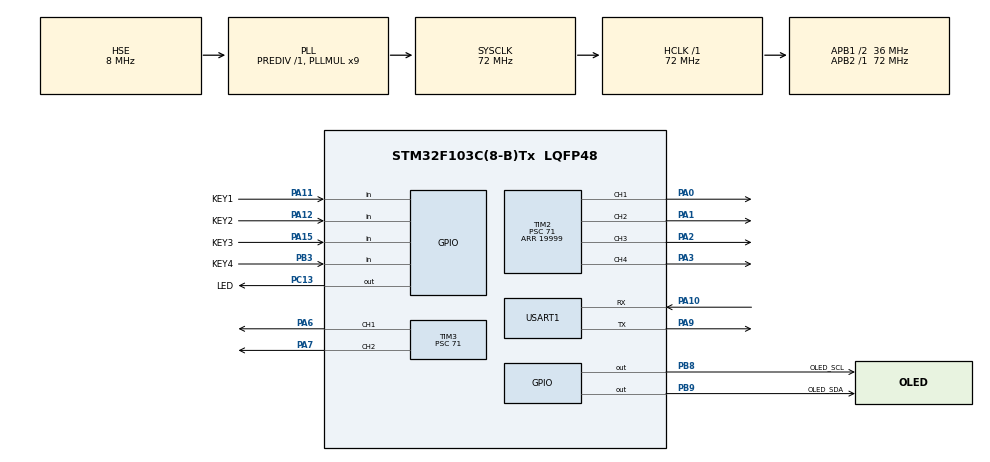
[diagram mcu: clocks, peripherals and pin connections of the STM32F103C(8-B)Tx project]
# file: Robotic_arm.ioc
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Dma.Request0=USART1_RX
Dma.USART1_RX.0.Direction=DMA_PERIPH_TO_MEMORY
Dma.USART1_RX.0.Instance=DMA1_Channel5
Dma.USART1_RX.0.MemDataAlignment=DMA_MDATAALIGN_BYTE
Dma.USART1_RX.0.MemInc=DMA_MINC_ENABLE
Dma.USART1_RX.0.Mode=DMA_CIRCULAR
Dma.USART1_RX.0.PeriphDataAlignment=DMA_PDATAALIGN_BYTE
Dma.USART1_RX.0.PeriphInc=DMA_PINC_DISABLE
Dma.USART1_RX.0.Priority=DMA_PRIORITY_VERY_HIGH
Mcu.Family=STM32F1
Mcu.Name=STM32F103C(8-B)Tx
Mcu.Package=LQFP48
NVIC.DMA1_Channel5_IRQn=true\:0\:0\:false\:false\:true\:false\:true\:true
NVIC.PriorityGroup=NVIC_PRIORITYGROUP_4
NVIC.TIM4_IRQn=true\:0\:0\:false\:false\:true\:true\:true\:true
NVIC.USART1_IRQn=true\:0\:0\:false\:false\:true\:true\:true\:true
PA0-WKUP.Signal=S_TIM2_CH1_ETR
PA1.Signal=S_TIM2_CH2
PA10.Mode=Asynchronous
PA10.Signal=USART1_RX
PA11.GPIO_Label=KEY1
PA11.GPIO_Mode=GPIO_MODE_INPUT
PA11.GPIO_PuPd=GPIO_PULLUP
PA11.Signal=GPIO_Input
PA12.GPIO_Label=KEY2
PA12.GPIO_PuPd=GPIO_PULLUP
PA12.Signal=GPIO_Input
PA13.Mode=Serial_Wire
PA13.Signal=SYS_JTMS-SWDIO
PA14.Mode=Serial_Wire
PA14.Signal=SYS_JTCK-SWCLK
PA15.GPIO_Label=KEY3
PA15.GPIO_PuPd=GPIO_PULLUP
PA15.Signal=GPIO_Input
PA2.Signal=S_TIM2_CH3
PA3.Signal=S_TIM2_CH4
PA6.Signal=S_TIM3_CH1
PA7.Signal=S_TIM3_CH2
PA9.Mode=Asynchronous
PA9.Signal=USART1_TX
PB3.GPIO_Label=KEY4
PB3.GPIO_PuPd=GPIO_PULLUP
PB3.Signal=GPIO_Input
PB8.GPIO_Label=OLED_SCL
PB8.GPIO_ModeDefaultOutputPP=GPIO_MODE_OUTPUT_OD
PB8.GPIO_PuPd=GPIO_PULLUP
PB8.GPIO_Speed=GPIO_SPEED_FREQ_LOW
PB8.PinState=GPIO_PIN_SET
PB8.Signal=GPIO_Output
PB9.GPIO_Label=OLED_SDA
PB9.GPIO_ModeDefaultOutputPP=GPIO_MODE_OUTPUT_OD
PB9.GPIO_PuPd=GPIO_PULLUP
PB9.GPIO_Speed=GPIO_SPEED_FREQ_LOW
PB9.PinState=GPIO_PIN_SET
PB9.Signal=GPIO_Output
PC13-TAMPER-RTC.GPIO_Label=LED
PC13-TAMPER-RTC.PinState=GPIO_PIN_SET
PC13-TAMPER-RTC.Signal=GPIO_Output
PD0-OSC_IN.Mode=HSE-External-Oscillator
PD0-OSC_IN.Signal=RCC_OSC_IN
PD1-OSC_OUT.Mode=HSE-External-Oscillator
PD1-OSC_OUT.Signal=RCC_OSC_OUT
ProjectManager.HeapSize=0x200
ProjectManager.StackSize=0x400
ProjectManager.TargetToolchain=CMake
RCC.AHBFreq_Value=72000000
RCC.APB1CLKDivider=RCC_HCLK_DIV2
RCC.APB1Freq_Value=36000000
RCC.APB1TimFreq_Value=72000000
RCC.APB2Freq_Value=72000000
RCC.APB2TimFreq_Value=72000000
RCC.HCLKFreq_Value=72000000
RCC.PLLMUL=RCC_PLL_MUL9
RCC.PLLSourceVirtual=RCC_PLLSOURCE_HSE
RCC.SYSCLKFreq_VALUE=72000000
RCC.SYSCLKSource=RCC_SYSCLKSOURCE_PLLCLK
RCC.USBFreq_Value=72000000
SH.S_TIM2_CH1_ETR.0=TIM2_CH1,PWM Generation1 CH1
SH.S_TIM2_CH2.0=TIM2_CH2,PWM Generation2 CH2
SH.S_TIM2_CH3.0=TIM2_CH3,PWM Generation3 CH3
SH.S_TIM2_CH4.0=TIM2_CH4,PWM Generation4 CH4
SH.S_TIM3_CH1.0=TIM3_CH1,PWM Generation1 CH1
SH.S_TIM3_CH2.0=TIM3_CH2,PWM Generation2 CH2
TIM2.Channel-PWM\ Generation1\ CH1=TIM_CHANNEL_1
TIM2.Channel-PWM\ Generation2\ CH2=TIM_CHANNEL_2
TIM2.Channel-PWM\ Generation3\ CH3=TIM_CHANNEL_3
TIM2.Channel-PWM\ Generation4\ CH4=TIM_CHANNEL_4
TIM2.OC1Preload_PWM=DISABLE
TIM2.OC2Preload_PWM=DISABLE
TIM2.OC3Preload_PWM=DISABLE
TIM2.OC4Preload_PWM=DISABLE
TIM2.Period=19999
TIM2.Prescaler=71
TIM2.Pulse-PWM\ Generation1\ CH1=0
TIM2.Pulse-PWM\ Generation2\ CH2=0
TIM2.Pulse-PWM\ Generation3\ CH3=0
TIM2.Pulse-PWM\ Generation4\ CH4=0
TIM3.Channel-PWM\ Generation1\ CH1=TIM_CHANNEL_1
TIM3.Channel-PWM\ Generation2\ CH2=TIM_CHANNEL_2
TIM3.OC1Preload_PWM=DISABLE
TIM3.OC2Preload_PWM=DISABLE
TIM3.Period=19999
TIM3.Prescaler=71
TIM4.AutoReloadPreload=TIM_AUTORELOAD_PRELOAD_ENABLE
TIM4.Period=999
TIM4.Prescaler=71
USART1.VirtualMode=VM_ASYNC
VP_TIM2_VS_ClockSourceINT.Mode=Internal
VP_TIM3_VS_ClockSourceINT.Mode=Internal
VP_TIM4_VS_ClockSourceINT.Mode=Internal
board=custom

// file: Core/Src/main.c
/* USER CODE BEGIN Header */
/**
  ******************************************************************************
  * @file           : main.c
  * @brief          : Main program body
  ******************************************************************************
  * @attention
  *
  * Copyright (c) 2025 STMicroelectronics.
  * All rights reserved.
  *
  * This software is licensed under terms that can be found in the LICENSE file
  * in the root directory of this software component.
  * If no LICENSE file comes with this software, it is provided AS-IS.
  *
  ******************************************************************************
  */
/* USER CODE END Header */
#include "main.h"
#include "dma.h"
#include "tim.h"
#include "usart.h"
#include "gpio.h"

/* USER CODE BEGIN Includes */
#include <math.h>
#include "OLED.h"
#include "Servo_motor.h"
#include "model.h"
#include "Key.h"
#include "LED.h"
#include "uart_app.h"
#include "protocol.h"
#include "motion.h"
#include "play.h"
/* USER CODE END Includes */

/* USER CODE BEGIN PD */
/* ===== 舵机标定模式 =====
 * 1 = 开启：按键单独调每一个舵机，用于标定「舵机角 → 实际物理角」的映射
 * 0 = 正常：跑逆运动学
 * 标定流程见 Calib_Loop() 上方注释。 */
#define CALIB_MODE  0

/* ===== 按键步长 =====
 * XY_STEP：按一次键，目标坐标改变多少（米）
 *
 * 末端实际怎么推进不在这里定了，全部交给 motion.c：
 * 按时间（巡航速度，米/秒，默认 MOTION_SPEED_DEFAULT）而不是按主循环圈数推进，
 * 这样 OLED 刷新和区间扫描拖慢主循环时，末端速度也不会跟着抖。 */
#define XY_STEP     0.005f

/* ===== 按键触发回放（3.0）=====
 * 1 = 允许用【KEY_3 + KEY_4 同时按住】来启动/停止回放
 * 0 = 关闭，回放只能用串口的 P / X
 *
 * 为什么是这两个键的组合，而不是单击某个键：
 *   四个键已经分别占给了 x+/x-/y+/y-，单击要留给微调，不能挪用。
 *   所以只能找一个"正常操作绝不会做"的动作。
 *
 * 为什么不用长按：KEY_LONG 和微调控件的长按连发是同一个事件，
 *   长按 KEY_4 会先连续微调 y- 再触发回放，手臂已经跑出去一段了。
 *
 * 代价（已知，可接受）：组合是分两次按下的，中间至少隔一个 20ms 扫描周期，
 *   所以先按下的那个键会先产生一次 5mm 微调（按住超过 500ms 还会进入连发）。
 *   实际无影响——回放下行的是【绝对角度】，第一个点立刻会把这丁点偏移纠正回来。
 *   想彻底消掉只能加第 5 个独立按键（Key 模块已支持 KEY_5，但要改 .ioc 和接线）。 */
#define PLAY_KEY_ENABLE     1

/* 按键启动回放时的循环遍数：0 = 无限循环 */
#define PLAY_KEY_ROUNDS     0u
/* USER CODE END PD */

void SystemClock_Config(void);

/* USER CODE BEGIN 0 */
/* 目标坐标和当前推进点现在都由 motion.c 持有（Motion_GetTarget /
 * Motion_GetCurrent 读取），main.c 不再自己维护一份副本——
 * 两份状态一旦不同步，按键、串口、OLED 显示就会互相打架。
 * 初始位姿也挪到了 motion.h 的 MOTION_START_X/Y/Z。 */

#if CALIB_MODE
/**
 * 舵机标定模式
 *
 * 目的：测出每个舵机的「指令角 → 实际物理角」关系。
 *       实物装配的零位和方向未必和 model.c 的假设一致，不标定则逆解全错。
 *
 * 按键：KEY1 切换舵机(1~4)   KEY2 +5°   KEY3 -5°   KEY4 复位到 90°
 *
 * 标定步骤（不需要量角器，目视对齐即可）：
 *   1. 选舵机 2（肩），用 KEY2/KEY3 调到【大臂水平前伸】，记下角度 → A1_H
 *   2. 选舵机 3（肘），调到【小臂与大臂成一条直线（完全伸直）】，记下角度 → A2_S
 *   3. 选舵机 4（腕），调到【夹爪与小臂成一条直线】，记下角度 → A3_S
 *   4. 再把大臂调到【竖直向上】记 A1_V，可用来验证方向（A1_V 应比 A1_H 小 90）
 *
 * 三个基准值拿到后，映射关系就能定：
 *   th1 = (A1_H - a1) * 方向  ;  th2 = (a2 - A2_S) ;  th3 = (a3 - A3_S)
 * 把实测值填进 model.c 对应位置即可。
 */
static void Calib_Loop(void)
{
    static uint8_t  sel = 2;      /* 默认选中舵机2（肩），最常需要标定 */
    static uint16_t ang = 90;

    if (Key_Check(KEY_1, KEY_DOWN))
    {
        sel = (sel >= 4) ? 1 : (uint8_t)(sel + 1);
        ang = servo_motors[sel - 1].NewAngle;   /* 切换时读该舵机当前值 */
    }
    if (Key_Check(KEY_2, KEY_DOWN))
    {
        ang = (ang + 5 > 180) ? 180 : (uint16_t)(ang + 5);
        Servo_Motor_SetAngleNow(sel, ang);
    }
    if (Key_Check(KEY_3, KEY_DOWN))
    {
        ang = (ang < 5) ? 0 : (uint16_t)(ang - 5);
        Servo_Motor_SetAngleNow(sel, ang);
    }
    if (Key_Check(KEY_4, KEY_DOWN))
    {
        ang = 90;
        Servo_Motor_SetAngleNow(sel, ang);
    }

    OLED_ShowString(0, 0,  "CALIB MODE", OLED_6X8);
    OLED_ShowString(0, 16, "SERVO:", OLED_6X8);
    OLED_ShowNum(42, 16, sel, 1, OLED_6X8);
    OLED_ShowString(0, 24, "ANGLE:", OLED_6X8);
    OLED_ShowNum(42, 24, ang, 3, OLED_6X8);
    OLED_ShowString(0, 40, "K1:sel K2:+ K3:-", OLED_6X8);
    OLED_ShowString(0, 48, "K4:reset 90", OLED_6X8);
    OLED_Update();
}
#endif
/* USER CODE END 0 */

int main(void)
{

  /* MCU Configuration--------------------------------------------------------*/

  /* Reset of all peripherals, Initializes the Flash interface and the Systick. */
  HAL_Init();

  /* Configure the system clock */
  SystemClock_Config();

  /* Initialize all configured peripherals */
  MX_GPIO_Init();
  MX_DMA_Init();
  MX_TIM2_Init();
  MX_TIM3_Init();
  MX_TIM4_Init();
  MX_USART1_UART_Init();
  /* USER CODE BEGIN 2 */
  OLED_Init();

  HAL_TIM_Base_Start_IT(&htim4); //开启定时器4中断

  Servo_motor_Init();//舵机初始化

  /* 运动模块：建立目标/当前位置状态并把舵机摆到初始位姿。
   * 必须在 Servo_motor_Init() 之后（它内部会调 model_now 驱动舵机）。 */
  Motion_Init();

  /* 示教模块：只把 Flash 里的点表读进 RAM，【不动舵机】。
   * 必须放在 Motion_Init() 之后——上电姿态由前两者决定，
   * 如果这里顺手恢复上次示教的姿态，上电会先弹一下再回工作位。 */
  Play_Init();

  /* 启动串口收发（USART1 = PA9/PA10，115200，DMA 循环接收）。
   * 必须放在 MX_USART1_UART_Init() 之后，且 MX_DMA_Init() 已先执行。 */
  Uart_Init(&huart1);

  /* 协议层：把串口字节流切成一行一条命令。必须在 Uart_Init() 之后。
   * 支持的指令：M x y z（米）/ G（本轮回 NOTIMPL）/ ?（查状态），详见 protocol.h。 */
  Protocol_Init();

  /* 上电自检回执：主动往外吐一行，用来分清「串口没通」和「命令没解析」。
   *
   * 调试串口时的用法：先连上位机，再按一下板子上的复位键。
   *   看到 READY 2.0 → 固件是这份、TX 通路正常，问题只可能在 RX 方向
   *   看不到        → 要么烧的不是这份固件，要么 TX 接线/驱动有问题
   *
   * 只在上电时发一次，不会周期性刷屏。 */
  Protocol_Reply("READY 3.0");

  /* USER CODE END 2 */

  /* Infinite loop */
  while (1)
  {

    /* USER CODE BEGIN 3 */
    /* 串口指令解析：非阻塞，没数据时开销只有一次 Uart_Read。
     * 放在这里（而不是 if/else 分支里）是为了标定模式下也能查状态。
     * 它只调 Motion_SetTarget()，运动仍由下面的 Motion_Tick() 统一推进，
     * 所以串口和按键两条输入通道共用同一条执行路径。 */
    Protocol_Poll();

#if CALIB_MODE
    /* 标定模式：只调舵机，不跑逆运动学 */
    Calib_Loop();
#else
    /* 目标坐标由 motion.c 持有，这里只取一份快照用于显示和按键增量 */
    float tx, ty, tz;

    /* 按键改变目标：轻点 5mm，长按连发。
     * 每次改之前重新取一次目标，这样同时按两个键时两个增量都会生效，
     * 而不是后一个把前一个覆盖掉。
     * Motion_SetTarget 内部做 数值范围 → 终点可达 → 路径可达 三重校验，
     * 越界的目标直接被拒，不会把机械臂带偏。
     *
     * 注意：KEY_DOWN 和 KEY_REPEAT 必须【两个都读】。Key_Check 的语义是
     * 「有标志就返回 1 并清掉」（KEY_HOLD 除外），用 || 短路的话
     * KEY_DOWN 命中时 KEY_REPEAT 不会被读走，那个标志会滞留在 Key_Flag 里，
     * 下一轮再冒出来多走一步。
     *
     * 回放期间【照读不照做】：回放和按键改的是同一批舵机，两边同时下发，
     * 手臂会在两个控制律之间来回拉（串口那边 protocol.c 已用 ERR:BUSY 挡了 M）。
     * 但标志仍然要读走 —— 不读的话 Key_Flag 会一直锁存，回放一结束
     * 四个键的 DOWN 标志一次性全触发，手臂朝某个方向连跳好几步。 */

    {
        uint8_t k;
        uint8_t go = (Play_IsPlaying() == 0u) ? 1u : 0u;

#if PLAY_KEY_ENABLE
        /* ---- 按键启停回放：KEY_3 + KEY_4 同时按住 ----
         *
         * 用 KEY_HOLD 拼组合，而不是 KEY_DOWN：HOLD 是电平量，
         * Key_Check 读它【不会清除】（见 Key.c 里 `if (Flag != KEY_HOLD)`），
         * 所以每轮都能重新查一次，凑出「两个键同时按着」这个状态。
         * DOWN 是边沿量、读一次就没了，没法用来判断组合。
         *
         * 自己记 combo_prev 做边沿检测，不能直接靠 KEY_DOWN：
         * HOLD 按着不动就一直为 1，不做边沿的话会每 20ms 翻转一次启停。
         */
        {
            static uint8_t combo_prev = 0u;
            uint8_t        combo_now;

            combo_now = ((Key_Check(KEY_3, KEY_HOLD) != 0u) &&
                         (Key_Check(KEY_4, KEY_HOLD) != 0u)) ? 1u : 0u;

            if ((combo_now != 0u) && (combo_prev == 0u))
            {
                /* 把这两键本轮的下按/连发吃掉，否则同一次按键会顺带再微调一步 */
                (void)Key_Check(KEY_3, KEY_DOWN);
                (void)Key_Check(KEY_3, KEY_REPEAT);
                (void)Key_Check(KEY_4, KEY_DOWN);
                (void)Key_Check(KEY_4, KEY_REPEAT);

                if (Play_IsPlaying())
                {
                    Play_Stop();            /* 停在当前姿态，不回原位 */
                }
                else if (Play_Count() == 0u)
                {
                    /* 没有点可放（Flash 里没存过，或者刚发过 C）。
                     * 什么都不做——自动跳到「记录」是另一种误操作。 */
                }
                else if (Motion_IsBusy())
                {
                    /* 还在走一条 M，等它到位再说：两条控制律同时写舵机会抢。
                     * 用户会看到 OLED 仍是 MOV，松手再按一次即可。 */
                }
                else
                {
                    (void)Play_Start((uint8_t)PLAY_KEY_ROUNDS);
                }
            }
            combo_prev = combo_now;

            /* 两键按着的时候一律不做微调。
             * 不加这一句的话，按住组合键等手臂停下的那段时间里，
             * KEY_REPEAT 会每 100ms 送一次微调，手臂一边等一边挪。 */
            if (combo_now != 0u)
            {
                go = 0u;
            }
        }
#endif

        k  = Key_Check(KEY_1, KEY_DOWN); k |= Key_Check(KEY_1, KEY_REPEAT);
        if (go && k) { Motion_GetTarget(&tx, &ty, &tz); (void)Motion_SetTarget(tx + XY_STEP, ty, tz); }

        k  = Key_Check(KEY_2, KEY_DOWN); k |= Key_Check(KEY_2, KEY_REPEAT);
        if (go && k) { Motion_GetTarget(&tx, &ty, &tz); (void)Motion_SetTarget(tx - XY_STEP, ty, tz); }

        k  = Key_Check(KEY_3, KEY_DOWN); k |= Key_Check(KEY_3, KEY_REPEAT);
        if (go && k) { Motion_GetTarget(&tx, &ty, &tz); (void)Motion_SetTarget(tx, ty + XY_STEP, tz); }

        k  = Key_Check(KEY_4, KEY_DOWN); k |= Key_Check(KEY_4, KEY_REPEAT);
        if (go && k) { Motion_GetTarget(&tx, &ty, &tz); (void)Motion_SetTarget(tx, ty - XY_STEP, tz); }
    }

    /* 按【时间】推进末端，与主循环快慢无关。
     * 每攒够 0.5mm 走一步、重算一次逆解并立即下发，所以末端走的是直线。 */
    Motion_Tick();

    /* 示教回放：自己按关节做插值，不经过 motion.c。
     * 两者互斥（回放期间协议层拒绝 M），所以不会同时抢舵机。 */
    Play_Tick();

    Motion_GetTarget(&tx, &ty, &tz);

    /* 第0行：运动状态，固定 3 字符宽（"OK "/"MOV"/"OUT"/"PAT"/"RNG"/"PLY"），
     * 避免长字符串残留。
     *   MOV = 正在走    OUT = 上次目标不可达
     *   PAT = 上次路径中途穿出可达区    RNG = 上次坐标超范围
     *   PLY = 正在回放（右边显示第几个点）
     *   OK  = 已到位 */
    {
        const char *st;
        uint8_t err = Motion_GetLastError();

        if (Play_IsPlaying())           { st = "PLY"; }
        else if (Motion_IsBusy())       { st = "MOV"; }
        else if (err == MOTION_ERR_OUT) { st = "OUT"; }
        else if (err == MOTION_ERR_PATH){ st = "PAT"; }
        else if (err == MOTION_ERR_PARAM){ st = "RNG"; }
        else                            { st = "OK "; }

        OLED_ShowString(0, 0, "RES:", OLED_6X8);
        OLED_ShowString(24, 0, st, OLED_6X8);

        /* 回放时把「第几个点」补在后面，示教调试时不用一直盯着串口。
         * 三个数字位固定宽度，退出回放后不会留下残影。 */
        if (Play_IsPlaying())
        {
            OLED_ShowNum(42, 0, Play_Index(), 3, OLED_6X8);
        }
        else
        {
            OLED_ShowString(42, 0, "   ", OLED_6X8);
        }
    }
    /* 第1行：当前目标坐标 x / y / z，固定宽度 */
    OLED_ShowFloatNum(0,  8, tx, 1, 2, OLED_6X8);
    OLED_ShowFloatNum(32, 8, ty, 1, 2, OLED_6X8);
    OLED_ShowFloatNum(64, 8, tz, 1, 2, OLED_6X8);

    /* 第2~3行：四个舵机的目标角度（逆解下发值），固定 3 位数字
     * B = 底座(舵机1)  S = 肩(舵机2)  E = 肘(舵机3)  W = 腕(舵机4)
     * 读的是 NewAngle（解算目标值），用于判断哪一路被判定超出行程。
     * 注意：已放弃姿态约束，W 不再由外部指定，而是自动取让夹爪尽量水平的值。 */
    OLED_ShowString(0, 16, "B:", OLED_6X8);
    OLED_ShowNum(12, 16, servo_motors[0].NewAngle, 3, OLED_6X8);
    OLED_ShowString(36, 16, "S:", OLED_6X8);
    OLED_ShowNum(48, 16, servo_motors[1].NewAngle, 3, OLED_6X8);

    OLED_ShowString(0, 24, "E:", OLED_6X8);
    OLED_ShowNum(12, 24, servo_motors[2].NewAngle, 3, OLED_6X8);
    OLED_ShowString(36, 24, "W:", OLED_6X8);
    OLED_ShowNum(48, 24, servo_motors[3].NewAngle, 3, OLED_6X8);
    /* 第4~7行：当前数据下 x / y 各自的有效区间。
     * 三连杆的腕点必须落在肩前 1~19cm 的环内（l1=10cm, l2=9cm），
     * 末端再靠 l3=17cm 的工具段伸出去，所以末端可达范围比环带大得多。
     * 区间与另一个轴是耦合的，所以 y 变了要重算 x 区间，x 变了要重算 y 区间。
     *
     * 注意：一次扫描要跑约 80×13 次逆解、耗时几十毫秒。只在【完全静止】
     * 时更新——运动或回放中扫描会把 Tick 的节奏打乱，
     * 末端速度出现肉眼可见的顿挫。等停下来再补一次即可。 */
    static float cache_x = 999.0f, cache_y = 999.0f, cache_z = 999.0f;
    static float x_min = 0.0f, x_max = 0.0f, y_min = 0.0f, y_max = 0.0f;

    if ((!Motion_IsBusy()) && (!Play_IsPlaying()))
    {
      if ((ty != cache_y) || (tz != cache_z))
      {
        model_XRange(ty, tz, &x_min, &x_max);
        cache_y = ty;
      }
      if ((tx != cache_x) || (tz != cache_z))
      {
        model_YRange(tx, tz, &y_min, &y_max);
        cache_x = tx;
      }
      cache_z = tz;
    }

    OLED_ShowString(0, 32, "xmin:", OLED_6X8);
    OLED_ShowFloatNum(30, 32, x_min, 1, 3, OLED_6X8);
    OLED_ShowString(0, 40, "xmax:", OLED_6X8);
    OLED_ShowFloatNum(30, 40, x_max, 1, 3, OLED_6X8);
    OLED_ShowString(0, 48, "ymin:", OLED_6X8);
    OLED_ShowFloatNum(30, 48, y_min, 1, 3, OLED_6X8);
    OLED_ShowString(0, 56, "ymax:", OLED_6X8);
    OLED_ShowFloatNum(30, 56, y_max, 1, 3, OLED_6X8);

    OLED_Update();
#endif
  }
  /* USER CODE END 3 */
}

void SystemClock_Config(void)
{
  RCC_OscInitTypeDef RCC_OscInitStruct = {0};
  RCC_ClkInitTypeDef RCC_ClkInitStruct = {0};

  /** Initializes the RCC Oscillators according to the specified parameters
  * in the RCC_OscInitTypeDef structure.
  */
  RCC_OscInitStruct.OscillatorType = RCC_OSCILLATORTYPE_HSE;
  RCC_OscInitStruct.HSEState = RCC_HSE_ON;
  RCC_OscInitStruct.HSEPredivValue = RCC_HSE_PREDIV_DIV1;
  RCC_OscInitStruct.HSIState = RCC_HSI_ON;
  RCC_OscInitStruct.PLL.PLLState = RCC_PLL_ON;
  RCC_OscInitStruct.PLL.PLLSource = RCC_PLLSOURCE_HSE;
  RCC_OscInitStruct.PLL.PLLMUL = RCC_PLL_MUL9;
  if (HAL_RCC_OscConfig(&RCC_OscInitStruct) != HAL_OK)
  {
    Error_Handler();
  }

  /** Initializes the CPU, AHB and APB buses clocks
  */
  RCC_ClkInitStruct.ClockType = RCC_CLOCKTYPE_HCLK|RCC_CLOCKTYPE_SYSCLK
                              |RCC_CLOCKTYPE_PCLK1|RCC_CLOCKTYPE_PCLK2;
  RCC_ClkInitStruct.SYSCLKSource = RCC_SYSCLKSOURCE_PLLCLK;
  RCC_ClkInitStruct.AHBCLKDivider = RCC_SYSCLK_DIV1;
  RCC_ClkInitStruct.APB1CLKDivider = RCC_HCLK_DIV2;
  RCC_ClkInitStruct.APB2CLKDivider = RCC_HCLK_DIV1;

  if (HAL_RCC_ClockConfig(&RCC_ClkInitStruct, FLASH_LATENCY_2) != HAL_OK)
  {
    Error_Handler();
  }
}

void Error_Handler(void)
{
  __disable_irq();
  while (1)
  {
  }
}
